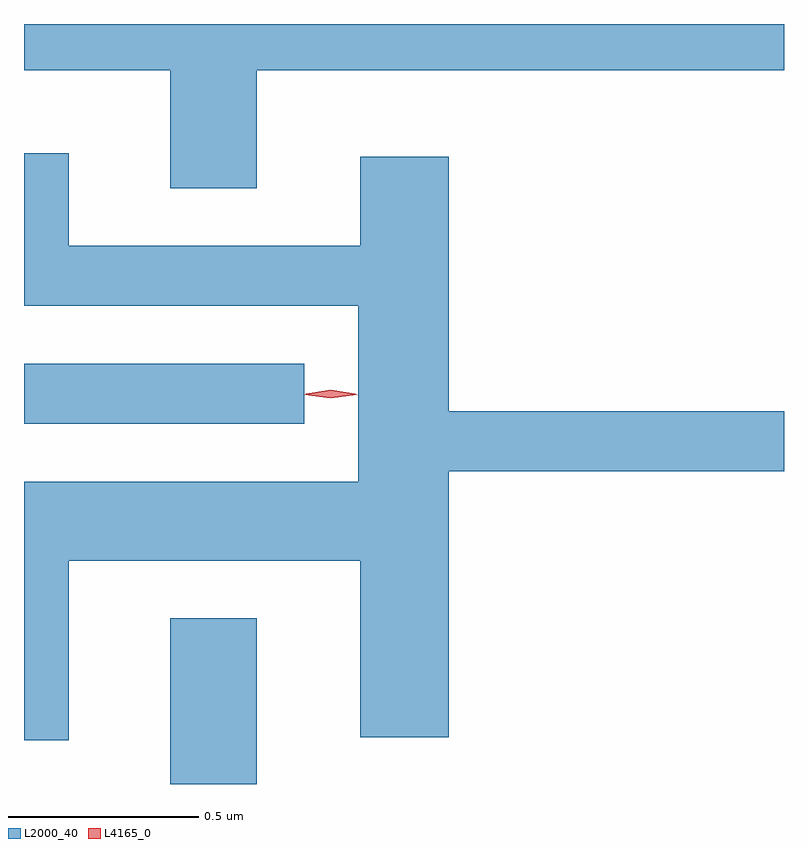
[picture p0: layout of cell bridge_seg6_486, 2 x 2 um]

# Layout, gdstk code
import gdstk
lib = gdstk.Library(unit=1e-6, precision=1e-09)
def R(c, l, rs):  # rectangles x0, y0, x1, y1
    for r in rs: c.add(gdstk.rectangle(r[:2], r[2:], *l))
def P(c, l, *ps):  # polygons
    for p in ps: c.add(gdstk.Polygon(p, *l))
L2000_40 = (2000, 40)
L4165_0 = (4165, 0)

bridge_seg6_486 = lib.new_cell('bridge_seg6_486')
R(bridge_seg6_486, L2000_40, [(616.951,1581.458,617.179,1581.894), (616.566,1582.406,617.303,1582.564)])
P(bridge_seg6_486, L2000_40, [(617.179,1583.336),(618.566,1583.336),(618.566,1583.458),(616.566,1583.458),(616.566,1583.336),(616.951,1583.336),(616.951,1583.026),(617.179,1583.026)],
  [(616.684,1582.046),(617.451,1582.046),(617.451,1581.581),(617.684,1581.581),(617.684,1582.281),(618.566,1582.281),(618.566,1582.439),(617.684,1582.439),(617.684,1583.109),(617.451,1583.109),(617.451,1582.874),(616.684,1582.874),(616.684,1583.118),(616.566,1583.118),(616.566,1582.716),(617.446,1582.716),(617.446,1582.254),(616.566,1582.254),(616.566,1581.573),(616.684,1581.573)])
P(bridge_seg6_486, L4165_0, [(617.373,1582.475),(617.308,1582.484),(617.307,1582.485),(617.308,1582.485),(617.373,1582.495),(617.438,1582.485),(617.439,1582.485),(617.438,1582.484)],
  [(617.373,1582.473),(617.304,1582.482),(617.304,1582.483),(617.304,1582.483),(617.373,1582.493),(617.442,1582.483),(617.443,1582.483),(617.442,1582.482)])

lib.write_gds('bridge_seg6_486.gds')
